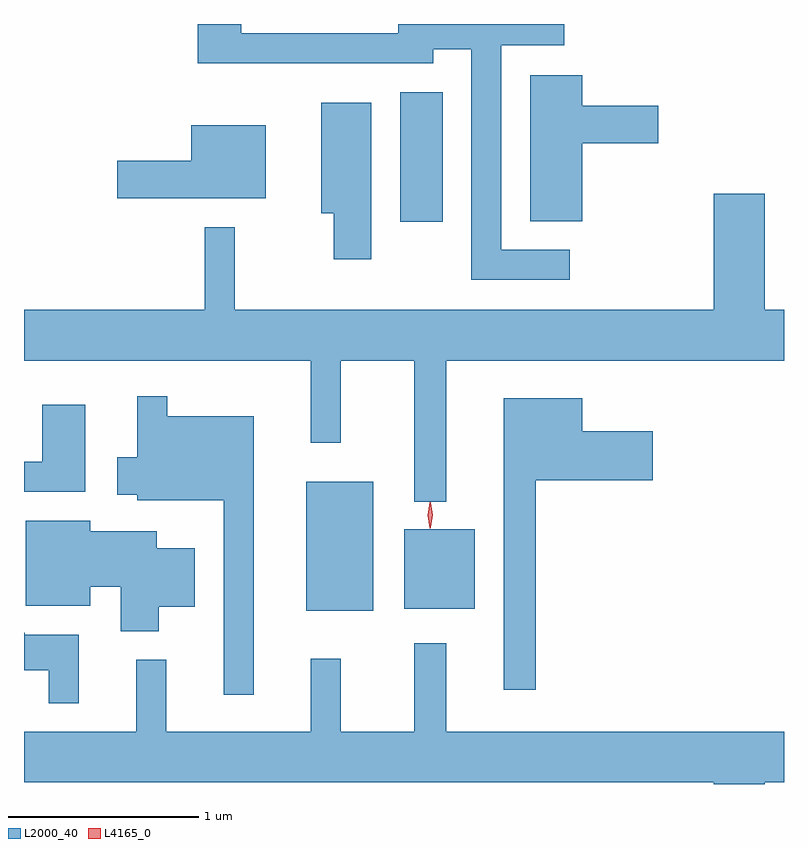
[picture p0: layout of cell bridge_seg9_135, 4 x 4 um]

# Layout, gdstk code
import gdstk
lib = gdstk.Library(unit=1e-6, precision=1e-09)
def R(c, l, rs):  # rectangles x0, y0, x1, y1
    for r in rs: c.add(gdstk.rectangle(r[:2], r[2:], *l))
def P(c, l, *ps):  # polygons
    for p in ps: c.add(gdstk.Polygon(p, *l))
L2000_40 = (2000, 40)
L4165_0 = (4165, 0)

bridge_seg9_135 = lib.new_cell('bridge_seg9_135')
R(bridge_seg9_135, L2000_40, [(1351.791,2077.081,1352.144,2077.759), (1352.306,2077.091,1352.679,2077.509), (1352.286,2079.126,1352.509,2079.809)])
P(bridge_seg9_135, L2000_40, [(1353.178,2078.979),(1352.819,2078.979),(1352.819,2080.056),(1353.149,2080.056),(1353.149,2080.168),(1352.276,2080.168),(1352.276,2080.119),(1351.449,2080.119),(1351.449,2080.168),(1351.221,2080.168),(1351.221,2079.961),(1352.459,2079.961),(1352.459,2080.036),(1352.661,2080.036),(1352.661,2078.821),(1353.178,2078.821)],
  [(1353.244,2079.541),(1353.644,2079.541),(1353.644,2079.739),(1353.244,2079.739),(1353.244,2079.899),(1352.971,2079.899),(1352.971,2079.131),(1353.244,2079.131)],
  [(1352.134,2079.754),(1351.871,2079.754),(1351.871,2079.171),(1351.936,2079.171),(1351.936,2078.931),(1352.134,2078.931)],
  [(1351.579,2079.634),(1351.186,2079.634),(1351.186,2079.449),(1350.796,2079.449),(1350.796,2079.251),(1351.579,2079.251)],
  [(1352.529,2078.396),(1354.306,2078.396),(1354.306,2078.664),(1354.204,2078.664),(1354.204,2079.274),(1353.936,2079.274),(1353.936,2078.664),(1351.414,2078.664),(1351.414,2079.097),(1351.256,2079.097),(1351.256,2078.664),(1350.306,2078.664),(1350.306,2078.396),(1351.816,2078.396),(1351.816,2077.963),(1351.974,2077.963),(1351.974,2078.396),(1352.361,2078.396),(1352.361,2077.653),(1352.529,2077.653)],
  [(1351.514,2078.104),(1351.059,2078.104),(1351.059,2078.208),(1350.901,2078.208),(1350.901,2077.889),(1350.796,2077.889),(1350.796,2077.691),(1350.901,2077.691),(1350.901,2077.661),(1351.356,2077.661),(1351.356,2076.637),(1351.514,2076.637)],
  [(1352.999,2077.766),(1353.614,2077.766),(1353.614,2078.024),(1353.244,2078.024),(1353.244,2078.199),(1352.831,2078.199),(1352.831,2076.663),(1352.999,2076.663)],
  [(1350.629,2078.164),(1350.401,2078.164),(1350.401,2077.864),(1350.306,2077.864),(1350.306,2077.706),(1350.629,2077.706)],
  [(1351.014,2077.101),(1351.204,2077.101),(1351.204,2077.409),(1351.004,2077.409),(1351.004,2077.499),(1350.654,2077.499),(1350.654,2077.554),(1350.316,2077.554),(1350.316,2077.106),(1350.654,2077.106),(1350.654,2077.206),(1350.816,2077.206),(1350.816,2076.971),(1351.014,2076.971)],
  [(1350.594,2076.954),(1350.31,2076.954),(1350.31,2076.964),(1350.306,2076.964),(1350.306,2076.766),(1350.436,2076.766),(1350.436,2076.593),(1350.594,2076.593)],
  [(1354.204,2076.176),(1354.306,2076.176),(1354.306,2076.444),(1352.529,2076.444),(1352.529,2076.908),(1352.361,2076.908),(1352.361,2076.444),(1351.974,2076.444),(1351.974,2076.827),(1351.816,2076.827),(1351.816,2076.444),(1351.054,2076.444),(1351.054,2076.823),(1350.896,2076.823),(1350.896,2076.444),(1350.306,2076.444),(1350.306,2076.176),(1353.936,2076.176),(1353.936,2076.168),(1354.204,2076.168)])
P(bridge_seg9_135, L4165_0, [(1352.442,2077.513),(1352.442,2077.514),(1352.432,2077.582),(1352.442,2077.65),(1352.442,2077.65),(1352.443,2077.65),(1352.452,2077.582),(1352.443,2077.514)],
  [(1352.447,2077.518),(1352.447,2077.519),(1352.437,2077.583),(1352.447,2077.647),(1352.447,2077.647),(1352.448,2077.647),(1352.457,2077.583),(1352.448,2077.519)])

lib.write_gds('bridge_seg9_135.gds')
